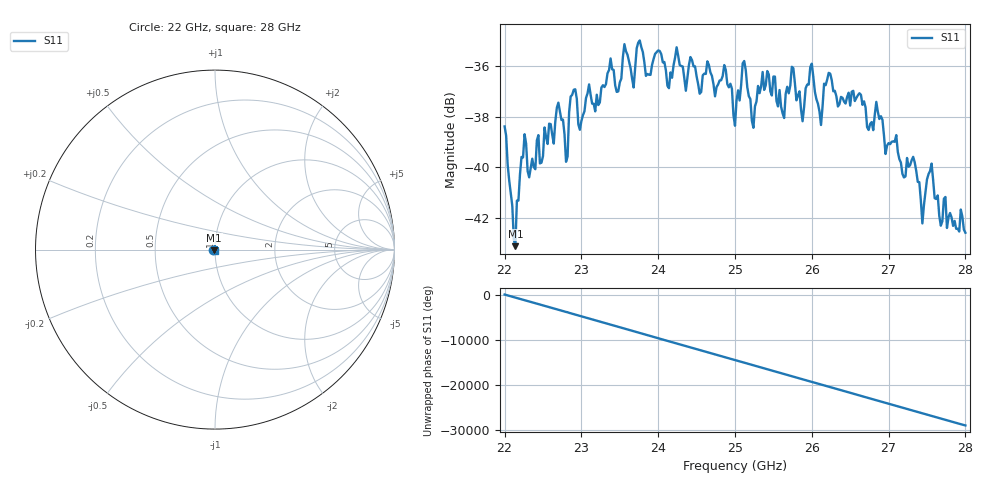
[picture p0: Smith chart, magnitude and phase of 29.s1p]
#  HZ  S  RI  R  50.00
! Rohde & Schwarz ZVA40 4Ports - Version 3.90 - 1145.1110k42 SN: 100403
! Date: 2023-10-04 06:07:25
! Measurement: S12
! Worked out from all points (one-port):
!   301 points, 22 GHz to 28 GHz, reference 50 ohm
!   lowest |S11| = -43.1 dB at 22.14 GHz (marker M1), VSWR 1.01, Z = 49.5 - j0.488 ohm
!   |S11| at or under -10 dB: start of sweep to end of sweep
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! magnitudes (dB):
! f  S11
! 22 GHz  -38.4
! 22.14 GHz  -43.1
! 22.26 GHz  -38.7
! 22.32 GHz  -40.4
! 22.76 GHz  -38.1
! 22.8 GHz  -39.8
! 22.9 GHz  -36.9
! 22.98 GHz  -38.5
! 23.5 GHz  -36.6
! 23.56 GHz  -35.1
! 24.26 GHz  -35.6
! 24.86 GHz  -36.0
! 25 GHz  -38.4
! 25.12 GHz  -35.8
! 25.24 GHz  -38.4
! 25.36 GHz  -36.2
! 25.64 GHz  -38.1
! 25.76 GHz  -36.1
! 25.88 GHz  -38.2
! 26 GHz  -35.9
! 26.12 GHz  -38.3
! 26.22 GHz  -36.3
! 26.5 GHz  -37.6
! 27.26 GHz  -40.0
! 27.44 GHz  -42.2
! 27.56 GHz  -39.8
! 27.68 GHz  -42.3
! 28 GHz  -42.6
